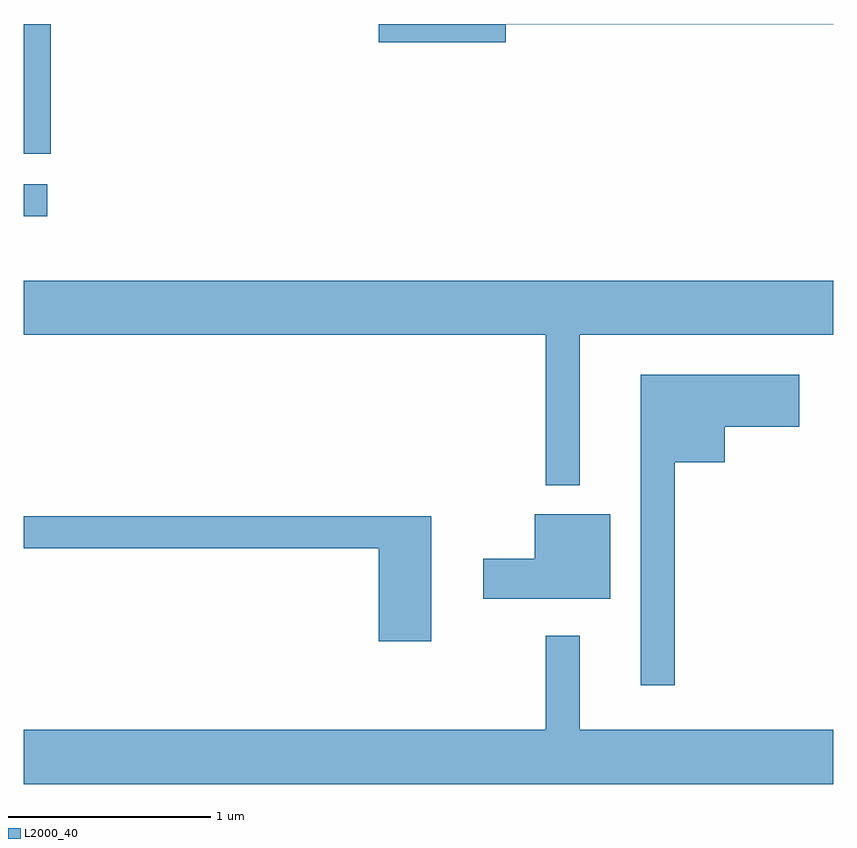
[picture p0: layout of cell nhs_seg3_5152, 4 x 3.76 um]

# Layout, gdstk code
import gdstk
lib = gdstk.Library(unit=1e-6, precision=1e-09)
def R(c, l, rs):  # rectangles x0, y0, x1, y1
    for r in rs: c.add(gdstk.rectangle(r[:2], r[2:], *l))
def P(c, l, *ps):  # polygons
    for p in ps: c.add(gdstk.Polygon(p, *l))
L2000_40 = (2000, 40)

nhs_seg3_5152 = lib.new_cell('nhs_seg3_5152')
R(nhs_seg3_5152, L2000_40, [(335.611,1230.941,335.728,1231.099), (335.611,1231.251,335.744,1231.892)])
P(nhs_seg3_5152, L2000_40, [(337.994,1231.891),(339.611,1231.891),(339.611,1231.892),(337.366,1231.892),(337.366,1231.801),(337.994,1231.801)],
  [(338.359,1230.356),(339.611,1230.356),(339.611,1230.624),(335.611,1230.624),(335.611,1230.356),(338.191,1230.356),(338.191,1229.613),(338.359,1229.613)],
  [(338.829,1229.726),(339.074,1229.726),(339.074,1229.901),(339.444,1229.901),(339.444,1230.159),(338.661,1230.159),(338.661,1228.623),(338.829,1228.623)],
  [(338.509,1229.469),(338.136,1229.469),(338.136,1229.249),(337.881,1229.249),(337.881,1229.051),(338.509,1229.051)],
  [(337.624,1229.459),(335.611,1229.459),(335.611,1229.301),(337.366,1229.301),(337.366,1228.841),(337.624,1228.841)],
  [(339.611,1228.404),(338.359,1228.404),(338.359,1228.868),(338.191,1228.868),(338.191,1228.404),(335.611,1228.404),(335.611,1228.136),(339.611,1228.136)])

lib.write_gds('nhs_seg3_5152.gds')
